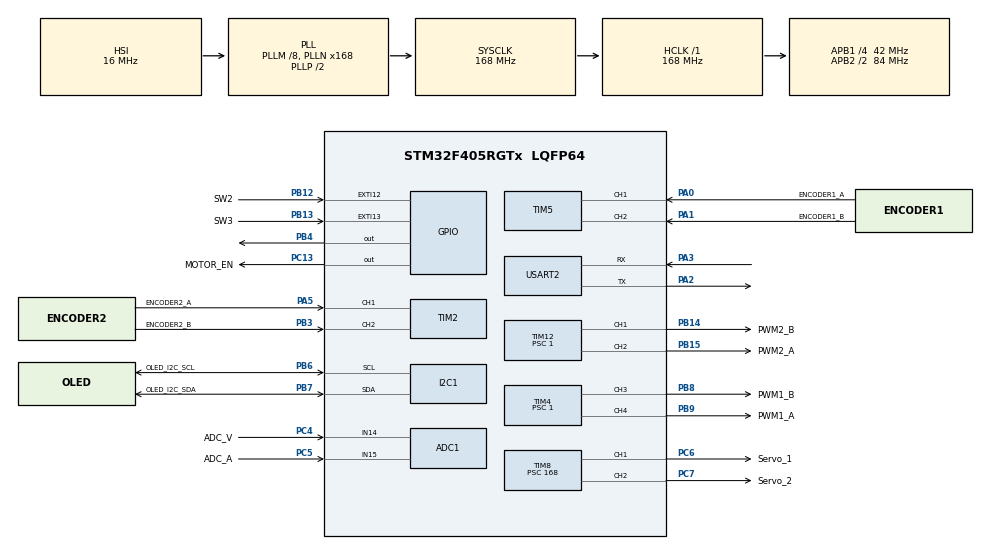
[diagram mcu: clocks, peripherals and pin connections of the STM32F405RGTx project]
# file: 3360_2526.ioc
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ADC1.Channel-0\#ChannelRegularConversion=ADC_CHANNEL_14
ADC1.Channel-1\#ChannelRegularConversion=ADC_CHANNEL_15
ADC1.ClockPrescaler=ADC_CLOCK_SYNC_PCLK_DIV4
ADC1.ContinuousConvMode=ENABLE
ADC1.DMAContinuousRequests=ENABLE
ADC1.EOCSelection=ADC_EOC_SEQ_CONV
ADC1.InjNumberOfConversion=0
ADC1.NbrOfConversion=2
ADC1.NbrOfConversionFlag=1
ADC1.Rank-0\#ChannelRegularConversion=1
ADC1.Rank-1\#ChannelRegularConversion=2
ADC1.SamplingTime-0\#ChannelRegularConversion=ADC_SAMPLETIME_480CYCLES
ADC1.SamplingTime-1\#ChannelRegularConversion=ADC_SAMPLETIME_480CYCLES
ADC1.ScanConvMode=ENABLE
ADC1.master=1
Dma.ADC1.0.Direction=DMA_PERIPH_TO_MEMORY
Dma.ADC1.0.FIFOMode=DMA_FIFOMODE_DISABLE
Dma.ADC1.0.Instance=DMA2_Stream0
Dma.ADC1.0.MemDataAlignment=DMA_MDATAALIGN_HALFWORD
Dma.ADC1.0.MemInc=DMA_MINC_ENABLE
Dma.ADC1.0.Mode=DMA_CIRCULAR
Dma.ADC1.0.PeriphDataAlignment=DMA_PDATAALIGN_HALFWORD
Dma.ADC1.0.PeriphInc=DMA_PINC_DISABLE
Dma.ADC1.0.Priority=DMA_PRIORITY_LOW
Dma.Request0=ADC1
I2C1.I2C_Mode=I2C_Fast
Mcu.Family=STM32F4
Mcu.Name=STM32F405RGTx
Mcu.Package=LQFP64
NVIC.ADC_IRQn=true\:0\:0\:false\:false\:true\:true\:true\:true
NVIC.DMA2_Stream0_IRQn=true\:0\:0\:false\:false\:true\:false\:true\:true
NVIC.EXTI15_10_IRQn=true\:0\:0\:true\:false\:true\:true\:true\:true
NVIC.PriorityGroup=NVIC_PRIORITYGROUP_4
NVIC.TIM2_IRQn=true\:0\:0\:false\:false\:true\:true\:true\:true
NVIC.TIM4_IRQn=true\:0\:0\:false\:false\:true\:true\:true\:true
NVIC.TIM5_IRQn=true\:0\:0\:false\:false\:true\:true\:true\:true
NVIC.TIM8_UP_TIM13_IRQn=true\:0\:0\:false\:false\:true\:true\:true\:true
NVIC.USART2_IRQn=true\:0\:0\:false\:false\:true\:true\:true\:true
PA0-WKUP.GPIO_Label=ENCODER1_A
PA0-WKUP.Signal=S_TIM5_CH1
PA1.GPIO_Label=ENCODER1_B
PA1.Signal=S_TIM5_CH2
PA13.GPIO_Label=ST-Link DIO
PA13.Mode=Serial_Wire
PA13.Signal=SYS_JTMS-SWDIO
PA14.GPIO_Label=ST-Link CLK
PA14.Mode=Serial_Wire
PA14.Signal=SYS_JTCK-SWCLK
PA2.Mode=Asynchronous
PA2.Signal=USART2_TX
PA3.Mode=Asynchronous
PA3.Signal=USART2_RX
PA5.GPIO_Label=ENCODER2_A
PA5.Signal=S_TIM2_CH1_ETR
PB12.GPIO_Label=SW2
PB12.GPIO_ModeDefaultEXTI=GPIO_MODE_IT_RISING
PB12.GPIO_PuPd=GPIO_PULLUP
PB12.Signal=GPXTI12
PB13.GPIO_Label=SW3
PB13.GPIO_ModeDefaultEXTI=GPIO_MODE_IT_RISING
PB13.GPIO_PuPd=GPIO_PULLUP
PB13.Signal=GPXTI13
PB14.GPIO_Label=PWM2_B
PB14.Signal=S_TIM12_CH1
PB15.GPIO_Label=PWM2_A
PB15.Signal=S_TIM12_CH2
PB3.GPIO_Label=ENCODER2_B
PB3.Signal=S_TIM2_CH2
PB4.GPIO_PuPd=GPIO_NOPULL
PB4.Signal=GPIO_Output
PB6.GPIO_Label=OLED_I2C_SCL
PB6.Mode=I2C
PB6.Signal=I2C1_SCL
PB7.GPIO_Label=OLED_I2C_SDA
PB7.Mode=I2C
PB7.Signal=I2C1_SDA
PB8.GPIO_Label=PWM1_B
PB8.Signal=S_TIM4_CH3
PB9.GPIO_Label=PWM1_A
PB9.Signal=S_TIM4_CH4
PC13-ANTI_TAMP.GPIO_Label=MOTOR_EN
PC13-ANTI_TAMP.PinState=GPIO_PIN_SET
PC13-ANTI_TAMP.Signal=GPIO_Output
PC4.GPIO_Label=ADC_V
PC4.Signal=ADCx_IN14
PC5.GPIO_Label=ADC_A
PC5.Signal=ADCx_IN15
PC6.GPIO_Label=Servo_1
PC6.Signal=S_TIM8_CH1
PC7.GPIO_Label=Servo_2
PC7.Signal=S_TIM8_CH2
PH0-OSC_IN.Mode=HSE-External-Oscillator
PH0-OSC_IN.Signal=RCC_OSC_IN
PH1-OSC_OUT.Mode=HSE-External-Oscillator
PH1-OSC_OUT.Signal=RCC_OSC_OUT
ProjectManager.HeapSize=0x200
ProjectManager.StackSize=0x400
ProjectManager.TargetToolchain=STM32CubeIDE
RCC.48MHZClocksFreq_Value=84000000
RCC.AHBFreq_Value=168000000
RCC.APB1CLKDivider=RCC_HCLK_DIV4
RCC.APB1Freq_Value=42000000
RCC.APB1TimFreq_Value=84000000
RCC.APB2CLKDivider=RCC_HCLK_DIV2
RCC.APB2Freq_Value=84000000
RCC.APB2TimFreq_Value=168000000
RCC.CortexFreq_Value=168000000
RCC.HCLKFreq_Value=168000000
RCC.HSE_VALUE=12000000
RCC.HSI_VALUE=16000000
RCC.LSE_VALUE=32768
RCC.PLLM=8
RCC.PLLN=168
RCC.SYSCLKFreq_VALUE=168000000
RCC.SYSCLKSource=RCC_SYSCLKSOURCE_PLLCLK
RCC.VCOOutputFreq_Value=336000000
SH.ADCx_IN14.0=ADC1_IN14,IN14
SH.ADCx_IN15.0=ADC1_IN15,IN15
SH.S_TIM12_CH1.0=TIM12_CH1,PWM Generation1 CH1
SH.S_TIM12_CH2.0=TIM12_CH2,PWM Generation2 CH2
SH.S_TIM2_CH1_ETR.0=TIM2_CH1,Encoder_Interface
SH.S_TIM2_CH2.0=TIM2_CH2,Encoder_Interface
SH.S_TIM4_CH3.0=TIM4_CH3,PWM Generation3 CH3
SH.S_TIM4_CH4.0=TIM4_CH4,PWM Generation4 CH4
SH.S_TIM5_CH1.0=TIM5_CH1,Encoder_Interface
SH.S_TIM5_CH2.0=TIM5_CH2,Encoder_Interface
SH.S_TIM8_CH1.0=TIM8_CH1,PWM Generation1 CH1
SH.S_TIM8_CH2.0=TIM8_CH2,PWM Generation2 CH2
TIM12.Channel-PWM\ Generation1\ CH1=TIM_CHANNEL_1
TIM12.Channel-PWM\ Generation2\ CH2=TIM_CHANNEL_2
TIM12.OCPolarity_1=TIM_OCPOLARITY_LOW
TIM12.OCPolarity_2=TIM_OCPOLARITY_LOW
TIM12.Prescaler=1
TIM13.Period=10000
TIM13.Prescaler=168-1
TIM2.EncoderMode=TIM_ENCODERMODE_TI12
TIM2.IC1Polarity=TIM_ICPOLARITY_RISING
TIM2.IC2Polarity=TIM_ICPOLARITY_RISING
TIM4.Channel-PWM\ Generation3\ CH3=TIM_CHANNEL_3
TIM4.Channel-PWM\ Generation4\ CH4=TIM_CHANNEL_4
TIM4.OCPolarity_3=TIM_OCPOLARITY_LOW
TIM4.OCPolarity_4=TIM_OCPOLARITY_LOW
TIM4.Prescaler=1
TIM4.Pulse-PWM\ Generation3\ CH3=0
TIM5.EncoderMode=TIM_ENCODERMODE_TI12
TIM5.IC1Polarity=TIM_ICPOLARITY_RISING
TIM5.IC2Polarity=TIM_ICPOLARITY_RISING
TIM8.AutoReloadPreload=TIM_AUTORELOAD_PRELOAD_ENABLE
TIM8.Channel-PWM\ Generation1\ CH1=TIM_CHANNEL_1
TIM8.Channel-PWM\ Generation2\ CH2=TIM_CHANNEL_2
TIM8.Period=40000-1
TIM8.Prescaler=168
USART2.VirtualMode=VM_ASYNC
VP_TIM12_VS_ClockSourceINT.Mode=Internal
VP_TIM13_VS_ClockSourceINT.Mode=Enable_Timer
VP_TIM4_VS_ClockSourceINT.Mode=Internal
VP_TIM8_VS_ClockSourceINT.Mode=Internal
board=custom

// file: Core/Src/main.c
/* USER CODE BEGIN Header */
/**
 ******************************************************************************
 * @file           : main.c
 * @brief          : Main program body
 ******************************************************************************
 * @attention
 *
 * Copyright (c) 2024 STMicroelectronics.
 * All rights reserved.
 *
 * This software is licensed under terms that can be found in the LICENSE file
 * in the root directory of this software component.
 * If no LICENSE file comes with this software, it is provided AS-IS.
 *
 ******************************************************************************
 */
/* USER CODE END Header */
#include "main.h"
#include "adc.h"
#include "dma.h"
#include "i2c.h"
#include "tim.h"
#include "usart.h"
#include "gpio.h"

/* USER CODE BEGIN Includes */
#include <stdio.h>
#include <math.h>
#include <ssd1306.h>
#include <ssd1306_fonts.h>
/* USER CODE END Includes */

/* USER CODE BEGIN PV */
// Wheel Encoder
volatile int32_t left_wheel_count = 0; // Left wheel pulse count
volatile int32_t right_wheel_count = 0; // Right wheel pulse count
volatile int8_t left_backwards = 0; // Indicates if the left wheel is moving backward
volatile int8_t right_backwards = 0; // Indicates if the right wheel is moving backward

// USART Communication
#define RXBUFFERSIZE 12 // Buffer size for receiving the complete message
uint8_t Command_Message[RXBUFFERSIZE]; // Buffer to store received data

// UART ring buffer for streaming command parser
#define UART_RING_SIZE 50
#define UART_HEADER 0x0D
#define UART_FOOTER 0x20
#define FRAME_LEN 11
volatile uint8_t uart_ring[UART_RING_SIZE];
volatile uint16_t uart_head = 0; // next write index
volatile uint16_t uart_tail = 0; // next read index

// USART Transmission Message
char Encoder_Message[20];

// ADC Measurements
uint16_t ADCArray[2];  // Array to store ADC readings for voltage and current
// Sliding Window (Moving Average) for voltage and current
#define WINDOW_SIZE 50  // Number of readings to average
uint16_t adc_voltage_buffer[WINDOW_SIZE] = { 0 }; // Buffer for voltage readings
uint16_t adc_current_buffer[WINDOW_SIZE] = { 0 }; // Buffer for current readings
uint8_t adc_index = 0;  // Current index for buffer
// Smoothed ADC Values
uint16_t smoothed_ADCArray[2]; // Array to store the smoothed voltage and current values

// OLED Display
char OLED_Message[20]; // String buffer for formatted output on the OLED screen

// PCB Button
int SW2 = 0;
int SW3 = 0;

// Motor Commands
int32_t left_cmd = 0;  // Motor command values
int32_t right_cmd = 0; // Motor command values

/* USER CODE END PV */

void SystemClock_Config(void);

/* USER CODE BEGIN 0 */
// Function to send encoder counts via USART
void Send_Encoder_Counts(void) {
	int len = sprintf(Encoder_Message, "[%ld,%ld]\r\n",
			(int32_t) __HAL_TIM_GET_COUNTER(&htim2),
			(int32_t) __HAL_TIM_GET_COUNTER(&htim5));
	HAL_UART_Transmit_IT(&huart2, (uint8_t*) Encoder_Message, len);
}
// Motor control function
void motor(int32_t left, int32_t right) {
	// Clamp the values to be within -65535 and +65535
	left = fminf(fmaxf(left, -65535), 65535);
	right = fminf(fmaxf(right, -65535), 65535);

	// Handle the right wheel
	if (right >= 0) {
		// Forward
		__HAL_TIM_SET_COMPARE(&htim12, TIM_CHANNEL_1, 0); // Backward
		__HAL_TIM_SET_COMPARE(&htim12, TIM_CHANNEL_2, right); // Forward
	} else {
		// Backward
		__HAL_TIM_SET_COMPARE(&htim12, TIM_CHANNEL_1, -right); // Backward
		__HAL_TIM_SET_COMPARE(&htim12, TIM_CHANNEL_2, 0); // Forward
	}

	// Handle the left wheel
	if (left >= 0) {
		// Forward
		__HAL_TIM_SET_COMPARE(&htim4, TIM_CHANNEL_3, 0); // Backward
		__HAL_TIM_SET_COMPARE(&htim4, TIM_CHANNEL_4, left); // Forward
	} else {
		// Backward
		__HAL_TIM_SET_COMPARE(&htim4, TIM_CHANNEL_3, -left); // Backward
		__HAL_TIM_SET_COMPARE(&htim4, TIM_CHANNEL_4, 0); // Forward
	}
}
// Remote control
void HAL_UART_RxCpltCallback(UART_HandleTypeDef *huart) {
	if (huart->Instance == USART2) {
		// Append the newly received byte (stored in Command_Message[0]) into the ring buffer
		uint8_t b = Command_Message[0];
		uart_ring[uart_head] = b;
		uart_head = (uart_head + 1) % UART_RING_SIZE;
		// If buffer overflow, advance tail to drop oldest byte
		if (uart_head == uart_tail) {
			uart_tail = (uart_tail + 1) % UART_RING_SIZE;
		}

		// Try to parse as many complete frames as possible
		uint16_t count = (uart_head + UART_RING_SIZE - uart_tail)
				% UART_RING_SIZE;
		uint16_t offset = 0; // offset from current tail within available bytes
		// Use a temporary linear view to simplify parsing logic
		while ((count - offset) >= FRAME_LEN) {
			// Read potential header at (tail + offset)
			uint16_t idx = (uart_tail + offset) % UART_RING_SIZE;
			if (uart_ring[idx] != UART_HEADER) {
				// not a header, skip this byte
				offset++;
				continue;
			}
			// Ensure footer is in place at header+10
			uint16_t footer_idx = (idx + FRAME_LEN - 1) % UART_RING_SIZE; // header + 10
			if (uart_ring[footer_idx] != UART_FOOTER) {
				// footer mismatch -> this header is invalid; skip this header byte
				offset++;
				continue;
			}

			// We have a candidate valid frame; copy payload bytes (big-endian)
			uint8_t payload[9];
			for (int i = 0; i < 9; ++i) {
				payload[i] = uart_ring[(idx + 1 + i) % UART_RING_SIZE];
			}

			// Decode 16-bit big-endian values
			uint32_t m1 = ((uint32_t) payload[0] << 8) | payload[1];
			uint32_t m2 = ((uint32_t) payload[2] << 8) | payload[3];
			uint32_t s1 = ((uint32_t) payload[4] << 8) | payload[5];
			uint32_t s2 = ((uint32_t) payload[6] << 8) | payload[7];
			uint8_t dir = payload[8];

			// Clamp servo values to safe range 1000..1400 (per request)
			if (s1 < 1000U)
				s1 = 1000U;
			else if (s1 > 1400U)
				s1 = 1400U;
			if (s2 < 1000U)
				s2 = 1000U;
			else if (s2 > 1400U)
				s2 = 1400U;

			// Map directions: bit0 -> motor1, bit1 -> motor2. Per requirement: 0 = backward, 1 = forward
			// ASSUMPTION: motor1 maps to left motor (htim12 channels), motor2 maps to right motor (htim4 channels).
			left_cmd = (dir & 0x01) ? (int32_t) m1 : -(int32_t) m1;
			right_cmd = (dir & 0x02) ? (int32_t) m2 : -(int32_t) m2;

			// Apply motors and servos
			motor(left_cmd, right_cmd);

			// Servos: directly set TIM8 compare registers
			__HAL_TIM_SET_COMPARE(&htim8, TIM_CHANNEL_1, (uint32_t) s1);
			__HAL_TIM_SET_COMPARE(&htim8, TIM_CHANNEL_2, (uint32_t) s2);

			// Advance offset past this frame
			offset += FRAME_LEN;
		}

		// Advance tail by offset (discard parsed or skipped bytes)
		uart_tail = (uart_tail + offset) % UART_RING_SIZE;

		// Restart reception for next byte
		HAL_UART_Receive_IT(&huart2, (uint8_t*) Command_Message, 1);
	}
}
// PCB button interrupt
void HAL_GPIO_EXTI_Callback(uint16_t GPIO_Pin) {
	if (GPIO_Pin == SW2_Pin) // Handle SW2 (PB12)
	{
		// Toggle gripper
		SW2 = !SW2;
		if (SW2) {
			__HAL_TIM_SET_COMPARE(&htim8, TIM_CHANNEL_1, 1400); // Close gripper
			__HAL_TIM_SET_COMPARE(&htim8, TIM_CHANNEL_2, 1400); // Reserved
		} else {
			__HAL_TIM_SET_COMPARE(&htim8, TIM_CHANNEL_1, 1000); // Open gripper
			__HAL_TIM_SET_COMPARE(&htim8, TIM_CHANNEL_2, 1000); // Reserved

		}

	} else if (GPIO_Pin == SW3_Pin) // Handle SW3 (PB13)
	{
		// Toggle motor
		SW3 = !SW3;
		if (SW3) {
			left_cmd = 30000;
			right_cmd = 30000;
			motor(left_cmd, right_cmd); // Move forward
		} else {
			left_cmd = 0;
			right_cmd = 0;
			motor(0, 0); // Stop
		}
	}
}
// Timer interrupt
void HAL_TIM_PeriodElapsedCallback(TIM_HandleTypeDef *htim) {
	// 10ms timer to send our the encoder counts
	if (htim->Instance == TIM13) {
		Send_Encoder_Counts();
	}
}
// Callback function of SysTick
void HAL_SYSTICK_Callback(void) {
	HAL_GPIO_TogglePin(GPIOB, GPIO_PIN_4); // 1ms toggle pin
}
// ADC Callback
void HAL_ADC_ConvCpltCallback(ADC_HandleTypeDef *hadc) {
	if (hadc->Instance == ADC1)  // Check which ADC triggered the interrupt
			{
		// Update the ADC buffers with the new readings from DMA
		adc_voltage_buffer[adc_index] = ADCArray[0]; // Store voltage ADC reading
		adc_current_buffer[adc_index] = ADCArray[1]; // Store current ADC reading

		// Move the index forward, wrapping around when reaching the buffer size
		adc_index = (adc_index + 1) % WINDOW_SIZE;

		// Calculate the moving average for voltage
		uint32_t voltage_sum = 0;
		for (int i = 0; i < WINDOW_SIZE; i++) {
			voltage_sum += adc_voltage_buffer[i];
		}
		smoothed_ADCArray[0] = voltage_sum / WINDOW_SIZE; // Store smoothed voltage

		// Calculate the moving average for current
		uint32_t current_sum = 0;
		for (int i = 0; i < WINDOW_SIZE; i++) {
			current_sum += adc_current_buffer[i];
		}
		smoothed_ADCArray[1] = current_sum / WINDOW_SIZE; // Store smoothed current
	}
}

/* USER CODE END 0 */

int main(void)
{

  /* MCU Configuration--------------------------------------------------------*/

  /* Reset of all peripherals, Initializes the Flash interface and the Systick. */
  HAL_Init();

  /* Configure the system clock */
  SystemClock_Config();

  /* Initialize all configured peripherals */
  MX_GPIO_Init();
  MX_DMA_Init();
  MX_USART2_UART_Init();
  MX_TIM4_Init();
  MX_TIM2_Init();
  MX_TIM5_Init();
  MX_TIM12_Init();
  MX_ADC1_Init();
  MX_I2C1_Init();
  MX_TIM13_Init();
  MX_TIM8_Init();
  /* USER CODE BEGIN 2 */

	// Start right PWM channels
	HAL_TIM_PWM_Start(&htim4, TIM_CHANNEL_3);
	HAL_TIM_PWM_Start(&htim4, TIM_CHANNEL_4);
	// Start left PWM channels
	HAL_TIM_PWM_Start(&htim12, TIM_CHANNEL_1);
	HAL_TIM_PWM_Start(&htim12, TIM_CHANNEL_2);

	// Start PWM on TIM8 CH1 and CH2
	HAL_TIM_PWM_Start(&htim8, TIM_CHANNEL_1);
	HAL_TIM_PWM_Start(&htim8, TIM_CHANNEL_2);

	// Example on count encoder pulses using interrupts
	HAL_TIM_Encoder_Start(&htim2, TIM_CHANNEL_1 | TIM_CHANNEL_2);
	HAL_TIM_Encoder_Start(&htim5, TIM_CHANNEL_1 | TIM_CHANNEL_2);

	// Start UART reception in interrupt mode
	-HAL_UART_Receive_IT(&huart2, (uint8_t*) Command_Message, RXBUFFERSIZE); // UASRT 2
	+ // Use single-byte interrupt-driven reception and a software ring buffer for framing
	+HAL_UART_Receive_IT(&huart2, (uint8_t*) Command_Message, 1); // USART2 single-byte receive

	// ADC Values for voltage and current
	HAL_ADC_Start_DMA(&hadc1, (uint32_t*) ADCArray, 2);

	HAL_TIM_Base_Start_IT(&htim13); // Encoder Message

	HAL_ADC_Start_IT(&hadc1); // ADC interrupt handler

	ssd1306_Init();
	ssd1306_Fill(White);
	ssd1306_UpdateScreen();
	ssd1306_Fill(Black);

	ssd1306_SetCursor(0, 0);  // Set cursor to an appropriate position
	ssd1306_WriteString("3360 260810", Font_11x18, White);
	ssd1306_UpdateScreen();

	HAL_Delay(1000);

  /* USER CODE END 2 */

  /* Infinite loop */
	while (1) {

    /* USER CODE BEGIN 3 */
		// Clear the display
		ssd1306_Fill(Black);

		// Format and display the ADC voltage and current values
		// ADCArray[0]*(3.3/4096)*((4700+1000)/1000)
		// ((ADCArray[1]/4096*3300)-2500)/185
		sprintf(OLED_Message, "%.1fV %s%.3fA",
				(smoothed_ADCArray[0] * 0.00459228515 + 0.22), // Voltage calculation
				(smoothed_ADCArray[0] * 0.00459228515 + 0.22) < 7.5 ?
						"TooLow" : "", // Check if voltage is lower than 7.5V
				((smoothed_ADCArray[1] * 0.8 - 2500) / 185) < 0 ?
						0 : ((smoothed_ADCArray[1] * 0.8 - 2500) / 185)); // Current calculation

		ssd1306_SetCursor(0, 0);  // Set cursor to the top of the display
		ssd1306_WriteString(OLED_Message, Font_11x18, White);

		sprintf(OLED_Message, "L:%d%s", __HAL_TIM_GET_COUNTER(&htim2),
				__HAL_TIM_IS_TIM_COUNTING_DOWN(&htim2) ? " B" : " F");
		ssd1306_SetCursor(0, 16);
		ssd1306_WriteString(OLED_Message, Font_6x8, White);

		sprintf(OLED_Message, "R:%d%s", __HAL_TIM_GET_COUNTER(&htim5),
				__HAL_TIM_IS_TIM_COUNTING_DOWN(&htim5) ? " B" : " F");
		ssd1306_SetCursor(0, 24);
		ssd1306_WriteString(OLED_Message, Font_6x8, White);

		sprintf(OLED_Message, "Motor PWM L:%d", left_cmd);
		ssd1306_SetCursor(0, 32);
		ssd1306_WriteString(OLED_Message, Font_6x8, White);

		sprintf(OLED_Message, "Motor PWM R:%d", right_cmd);
		ssd1306_SetCursor(0, 40);
		ssd1306_WriteString(OLED_Message, Font_6x8, White);

		sprintf(OLED_Message, "Servo1:%d",
				__HAL_TIM_GET_COMPARE(&htim8, TIM_CHANNEL_1));
		ssd1306_SetCursor(0, 48);
		ssd1306_WriteString(OLED_Message, Font_6x8, White);

		sprintf(OLED_Message, "Servo2:%d",
				__HAL_TIM_GET_COMPARE(&htim8, TIM_CHANNEL_2));
		ssd1306_SetCursor(0, 56);
		ssd1306_WriteString(OLED_Message, Font_6x8, White);

		// Update the OLED screen to reflect all changes
		ssd1306_UpdateScreen();

	}
  /* USER CODE END 3 */
}

void SystemClock_Config(void)
{
  RCC_OscInitTypeDef RCC_OscInitStruct = {0};
  RCC_ClkInitTypeDef RCC_ClkInitStruct = {0};

  /** Configure the main internal regulator output voltage
  */
  __HAL_RCC_PWR_CLK_ENABLE();
  __HAL_PWR_VOLTAGESCALING_CONFIG(PWR_REGULATOR_VOLTAGE_SCALE1);

  /** Initializes the RCC Oscillators according to the specified parameters
  * in the RCC_OscInitTypeDef structure.
  */
  RCC_OscInitStruct.OscillatorType = RCC_OSCILLATORTYPE_HSI;
  RCC_OscInitStruct.HSIState = RCC_HSI_ON;
  RCC_OscInitStruct.HSICalibrationValue = RCC_HSICALIBRATION_DEFAULT;
  RCC_OscInitStruct.PLL.PLLState = RCC_PLL_ON;
  RCC_OscInitStruct.PLL.PLLSource = RCC_PLLSOURCE_HSI;
  RCC_OscInitStruct.PLL.PLLM = 8;
  RCC_OscInitStruct.PLL.PLLN = 168;
  RCC_OscInitStruct.PLL.PLLP = RCC_PLLP_DIV2;
  RCC_OscInitStruct.PLL.PLLQ = 4;
  if (HAL_RCC_OscConfig(&RCC_OscInitStruct) != HAL_OK)
  {
    Error_Handler();
  }

  /** Initializes the CPU, AHB and APB buses clocks
  */
  RCC_ClkInitStruct.ClockType = RCC_CLOCKTYPE_HCLK|RCC_CLOCKTYPE_SYSCLK
                              |RCC_CLOCKTYPE_PCLK1|RCC_CLOCKTYPE_PCLK2;
  RCC_ClkInitStruct.SYSCLKSource = RCC_SYSCLKSOURCE_PLLCLK;
  RCC_ClkInitStruct.AHBCLKDivider = RCC_SYSCLK_DIV1;
  RCC_ClkInitStruct.APB1CLKDivider = RCC_HCLK_DIV4;
  RCC_ClkInitStruct.APB2CLKDivider = RCC_HCLK_DIV2;

  if (HAL_RCC_ClockConfig(&RCC_ClkInitStruct, FLASH_LATENCY_5) != HAL_OK)
  {
    Error_Handler();
  }
}

void Error_Handler(void)
{
	__disable_irq();
	while (1) {
	}
}
